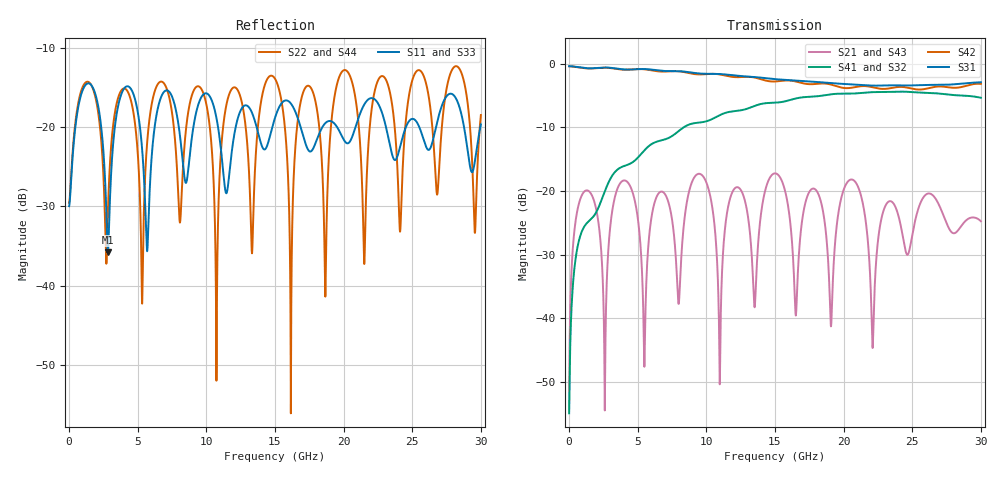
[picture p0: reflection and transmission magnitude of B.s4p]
!diffpair-meanders B (untuned 180-degree U-bend), mesh fine
!ports 1 P_near 2 N_near 3 P_far 4 N_far; openEMS FDTD, lumped 50 ohm ports
# Hz S RI R 50.0
! Port[1] = P_near
! Port[2] = N_near
! Port[3] = P_far
! Port[4] = N_far
!freq ReS11 ImS11 ReS12 ImS12 ReS13 ImS13
! ReS14 ImS14
! ReS21 ImS21 ReS22 ImS22 ReS23 ImS23
! ReS24 ImS24
! ReS31 ImS31 ReS32 ImS32 ReS33 ImS33
! ReS34 ImS34
! ReS41 ImS41 ReS42 ImS42 ReS43 ImS43
! ReS44 ImS44
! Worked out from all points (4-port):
!   3000 points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, 10 MHz to 30 GHz, reference 50 ohm
!   strongest paths, dB at 10 MHz, 7.51 GHz, 15.01 GHz, 22.51 GHz, 30 GHz:
!     S31: -0.4, -1.2, -2.4, -3.4, -2.9
!     S42: -0.4, -1.2, -2.8, -3.9, -3.2
!     S41: -54.9, -11.4, -6.1, -4.4, -5.3
!     S32: -54.9, -11.4, -6.1, -4.5, -5.4
!     S21: -54.1, -24.5, -17.2, -27.7, -24.7
!     S43: -54.1, -24.5, -17.2, -27.8, -24.7
!   lowest |S11| = -35.8 dB at 2.84 GHz (marker M1), VSWR 1.03, Z = 51.6 + j0.146 ohm
!   |S11| at or under -10 dB: start of sweep to end of sweep
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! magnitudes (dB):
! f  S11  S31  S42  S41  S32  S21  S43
! 10 MHz  -30.0  -0.4  -0.4  -54.9  -54.9  -54.1  -54.1
! 860 MHz  -16.1  -0.6  -0.6  -26.8  -26.8  -21.0  -21.0
! 2.84 GHz  -35.8  -0.6  -0.6  -18.8  -18.8  -30.1  -30.2
! 4.21 GHz  -14.9  -0.9  -0.9  -15.9  -15.9  -18.5  -18.5
! 5.49 GHz  -27.3  -0.8  -0.9  -13.6  -13.6  -47.6  -46.8
! 9.41 GHz  -17.2  -1.5  -1.7  -9.3  -9.3  -17.3  -17.3
! 30 GHz  -19.7  -2.9  -3.2  -5.3  -5.4  -24.7  -24.7
